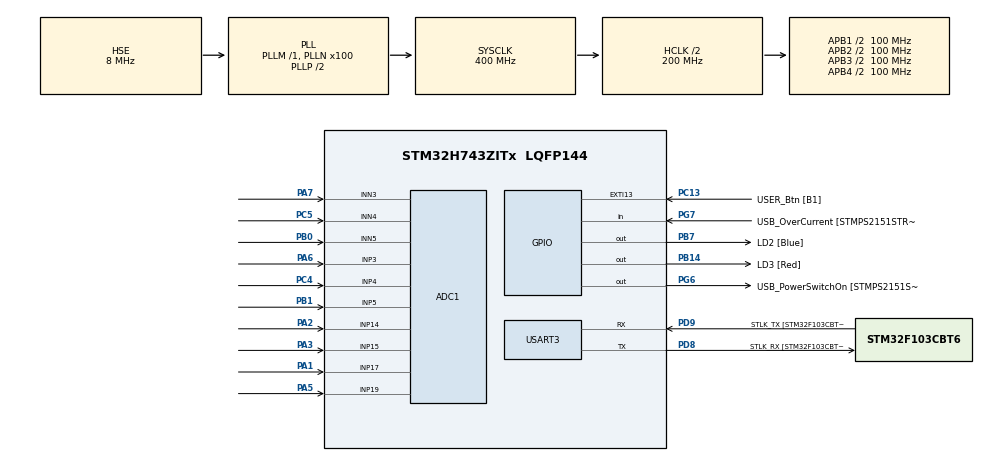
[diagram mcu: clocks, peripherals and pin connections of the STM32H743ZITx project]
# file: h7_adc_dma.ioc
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ADC1.Channel-0\#ChannelRegularConversion=ADC_CHANNEL_17
ADC1.Channel-1\#ChannelRegularConversion=ADC_CHANNEL_14
ADC1.Channel-2\#ChannelRegularConversion=ADC_CHANNEL_15
ADC1.Channel-3\#ChannelRegularConversion=ADC_CHANNEL_3
ADC1.Channel-4\#ChannelRegularConversion=ADC_CHANNEL_4
ADC1.Channel-5\#ChannelRegularConversion=ADC_CHANNEL_5
ADC1.ClockPrescaler=ADC_CLOCK_ASYNC_DIV256
ADC1.ContinuousConvMode=ENABLE
ADC1.ConversionDataManagement=ADC_CONVERSIONDATA_DMA_ONESHOT
ADC1.EOCSelection=ADC_EOC_SEQ_CONV
ADC1.Mode=ADC_MODE_INDEPENDENT
ADC1.NbrOfConversion=6
ADC1.NbrOfConversionFlag=1
ADC1.OffsetNumber-0\#ChannelRegularConversion=ADC_OFFSET_NONE
ADC1.OffsetNumber-1\#ChannelRegularConversion=ADC_OFFSET_NONE
ADC1.OffsetNumber-2\#ChannelRegularConversion=ADC_OFFSET_NONE
ADC1.OffsetNumber-3\#ChannelRegularConversion=ADC_OFFSET_NONE
ADC1.OffsetNumber-4\#ChannelRegularConversion=ADC_OFFSET_NONE
ADC1.OffsetNumber-5\#ChannelRegularConversion=ADC_OFFSET_NONE
ADC1.Overrun=ADC_OVR_DATA_OVERWRITTEN
ADC1.Rank-0\#ChannelRegularConversion=1
ADC1.Rank-1\#ChannelRegularConversion=2
ADC1.Rank-2\#ChannelRegularConversion=3
ADC1.Rank-3\#ChannelRegularConversion=4
ADC1.Rank-4\#ChannelRegularConversion=5
ADC1.Rank-5\#ChannelRegularConversion=6
ADC1.SamplingTime-0\#ChannelRegularConversion=ADC_SAMPLETIME_8CYCLES_5
ADC1.SamplingTime-1\#ChannelRegularConversion=ADC_SAMPLETIME_8CYCLES_5
ADC1.SamplingTime-2\#ChannelRegularConversion=ADC_SAMPLETIME_8CYCLES_5
ADC1.SamplingTime-3\#ChannelRegularConversion=ADC_SAMPLETIME_8CYCLES_5
ADC1.SamplingTime-4\#ChannelRegularConversion=ADC_SAMPLETIME_8CYCLES_5
ADC1.SamplingTime-5\#ChannelRegularConversion=ADC_SAMPLETIME_8CYCLES_5
ADC1.SingleDiff-3\#ChannelRegularConversion=ADC_DIFFERENTIAL_ENDED
ADC1.SingleDiff-4\#ChannelRegularConversion=ADC_DIFFERENTIAL_ENDED
ADC1.SingleDiff-5\#ChannelRegularConversion=ADC_DIFFERENTIAL_ENDED
ADC1.master=1
ADC3.Channel-0\#ChannelRegularConversion=ADC_CHANNEL_TEMPSENSOR
ADC3.ClockPrescaler=ADC_CLOCK_ASYNC_DIV256
ADC3.ContinuousConvMode=DISABLE
ADC3.DMAAccessModeView=ENABLE
ADC3.EnableInjectedConversion=ENABLE
ADC3.EnableRegularConversion=ENABLE
ADC3.ExternalTrigConv=ADC_SOFTWARE_START
ADC3.InjNumberOfConversion=0
ADC3.NbrOfConversion=1
ADC3.NbrOfConversionFlag=1
ADC3.OffsetNumber-0\#ChannelRegularConversion=ADC_OFFSET_NONE
ADC3.Rank-0\#ChannelRegularConversion=1
ADC3.Resolution=ADC_RESOLUTION_16B
ADC3.SamplingTime-0\#ChannelRegularConversion=ADC_SAMPLETIME_387CYCLES_5
CORTEX_M7.CPU_DCache=Enabled
CORTEX_M7.CPU_ICache=Enabled
Dma.ADC1.0.Direction=DMA_PERIPH_TO_MEMORY
Dma.ADC1.0.EventEnable=DISABLE
Dma.ADC1.0.FIFOMode=DMA_FIFOMODE_DISABLE
Dma.ADC1.0.Instance=DMA1_Stream0
Dma.ADC1.0.MemDataAlignment=DMA_MDATAALIGN_HALFWORD
Dma.ADC1.0.MemInc=DMA_MINC_ENABLE
Dma.ADC1.0.Mode=DMA_CIRCULAR
Dma.ADC1.0.PeriphDataAlignment=DMA_PDATAALIGN_HALFWORD
Dma.ADC1.0.PeriphInc=DMA_PINC_DISABLE
Dma.ADC1.0.Polarity=HAL_DMAMUX_REQ_GEN_RISING
Dma.ADC1.0.Priority=DMA_PRIORITY_HIGH
Dma.ADC1.0.RequestNumber=1
Dma.ADC1.0.SignalID=NONE
Dma.ADC1.0.SyncEnable=DISABLE
Dma.ADC1.0.SyncPolarity=HAL_DMAMUX_SYNC_NO_EVENT
Dma.ADC1.0.SyncRequestNumber=1
Dma.ADC1.0.SyncSignalID=NONE
Dma.Request0=ADC1
Mcu.Family=STM32H7
Mcu.Name=STM32H743ZITx
Mcu.Package=LQFP144
NVIC.ADC3_IRQn=true\:0\:0\:false\:false\:true\:true\:true
NVIC.ADC_IRQn=true\:5\:0\:true\:false\:true\:true\:true
NVIC.DMA1_Stream0_IRQn=true\:5\:0\:true\:false\:true\:false\:true
NVIC.PriorityGroup=NVIC_PRIORITYGROUP_4
NVIC.TIM2_IRQn=true\:3\:0\:true\:false\:true\:true\:true
PA1.Mode=IN17-Single-Ended
PA1.Signal=ADC1_INP17
PA10.GPIO_Label=USB_ID
PA10.Signal=USB_OTG_FS_ID
PA11.GPIO_Label=USB_DM
PA11.Signal=USB_OTG_FS_DM
PA12.GPIO_Label=USB_DP
PA12.Signal=USB_OTG_FS_DP
PA2.Signal=ADCx_INP14
PA3.Signal=ADCx_INP15
PA5.Signal=SharedAnalog_PA5
PA6.Signal=ADCx_INP3
PA7.Signal=ADCx_INN3
PA8.GPIO_Label=USB_SOF [TP1]
PA8.Signal=USB_OTG_FS_SOF
PA9.GPIO_Label=USB_VBUS
PA9.Signal=USB_OTG_FS_VBUS
PB0.Signal=ADCx_INN5
PB1.Signal=ADCx_INP5
PB14.GPIO_Label=LD3 [Red]
PB14.Signal=GPIO_Output
PB7.GPIO_Label=LD2 [Blue]
PB7.Signal=GPIO_Output
PC13.GPIO_Label=USER_Btn [B1]
PC13.Signal=GPXTI13
PC14-OSC32_IN\ (OSC32_IN).Mode=LSE-External-Oscillator
PC14-OSC32_IN\ (OSC32_IN).Signal=RCC_OSC32_IN
PC15-OSC32_OUT\ (OSC32_OUT).Mode=LSE-External-Oscillator
PC15-OSC32_OUT\ (OSC32_OUT).Signal=RCC_OSC32_OUT
PC4.Signal=ADCx_INP4
PC5.Signal=ADCx_INN4
PD8.GPIO_Label=STLK_RX [STM32F103CBT6_PA3]
PD8.Mode=Asynchronous
PD8.Signal=USART3_TX
PD9.GPIO_Label=STLK_TX [STM32F103CBT6_PA2]
PD9.Mode=Asynchronous
PD9.Signal=USART3_RX
PG6.GPIO_Label=USB_PowerSwitchOn [STMPS2151STR_EN]
PG6.Signal=GPIO_Output
PG7.GPIO_Label=USB_OverCurrent [STMPS2151STR_FAULT]
PG7.Signal=GPIO_Input
PH0-OSC_IN\ (PH0).GPIO_Label=MCO
PH0-OSC_IN\ (PH0).Mode=HSE-External-Clock-Source
PH0-OSC_IN\ (PH0).Signal=RCC_OSC_IN
PH1-OSC_OUT\ (PH1).Mode=HSE-External-Clock-Source
PH1-OSC_OUT\ (PH1).Signal=RCC_OSC_OUT
ProjectManager.HeapSize=0x200
ProjectManager.StackSize=0x400
ProjectManager.TargetToolchain=SW4STM32
RCC.48MHZClocksFreq_Value=24000000
RCC.ADCFreq_Value=160000000
RCC.AHBFreq_Value=216000000
RCC.APB1CLKDivider=RCC_HCLK_DIV4
RCC.APB1Freq_Value=100000000
RCC.APB1TimFreq_Value=108000000
RCC.APB2CLKDivider=RCC_HCLK_DIV2
RCC.APB2Freq_Value=100000000
RCC.APB2TimFreq_Value=216000000
RCC.APB3Freq_Value=100000000
RCC.APB4Freq_Value=100000000
RCC.CortexFreq_Value=400000000
RCC.D1PPRE=RCC_APB3_DIV2
RCC.D2PPRE1=RCC_APB1_DIV2
RCC.D2PPRE2=RCC_APB2_DIV2
RCC.D3PPRE=RCC_APB4_DIV2
RCC.DIVM1=1
RCC.DIVM2=1
RCC.DIVN1=100
RCC.DIVN2=20
RCC.DIVP2=1
RCC.DIVQ1=4
RCC.HCLKFreq_Value=200000000
RCC.HPRE=RCC_HCLK_DIV2
RCC.HSE_VALUE=8000000
RCC.HSI_VALUE=64000000
RCC.PLL2FRACN=0
RCC.PLLFRACN=0
RCC.PLLM=25
RCC.PLLMUL=RCC_PLL_MUL9
RCC.PLLN=432
RCC.PLLQ=9
RCC.PLLSourceVirtual=RCC_PLLSOURCE_HSE
RCC.PRESCALERUSB=RCC_USBCLKSOURCE_PLL_DIV1_5
RCC.PWR_Regulator_Voltage_Scale=PWR_REGULATOR_VOLTAGE_SCALE1
RCC.SYSCLKFreq_VALUE=400000000
RCC.SYSCLKSource=RCC_SYSCLKSOURCE_PLLCLK
RCC.SYSCLKSourceVirtual=RCC_SYSCLKSOURCE_PLLCLK
RCC.USBFreq_Value=200000000
RCC.VCOOutputFreq_Value=432000000
RTC.Year=19
SH.ADCx_INN3.0=ADC1_INN3,IN3-Differential
SH.ADCx_INN4.0=ADC1_INN4,IN4-Differential
SH.ADCx_INN5.0=ADC1_INN5,IN5-Differential
SH.ADCx_INP14.0=ADC1_INP14,IN14-Single-Ended
SH.ADCx_INP15.0=ADC1_INP15,IN15-Single-Ended
SH.ADCx_INP3.0=ADC1_INP3,IN3-Differential
SH.ADCx_INP4.0=ADC1_INP4,IN4-Differential
SH.ADCx_INP5.0=ADC1_INP5,IN5-Differential
SH.SharedAnalog_PA5.0=ADC1_INN18
SH.SharedAnalog_PA5.1=ADC1_INP19,IN19-Single-Ended
TIM2.Period=100
TIM2.Prescaler=1
USART3.VirtualMode-Asynchronous=VM_ASYNC
VP_ADC3_TempSens_Input.Mode=IN-TempSens
VP_ADC3_Vref_Input.Mode=IN-Vrefint
VP_RTC_VS_RTC_Activate.Mode=RTC_Enabled
VP_RTC_VS_RTC_Calendar.Mode=RTC_Calendar
VP_TIM2_VS_ClockSourceINT.Mode=Internal
board=NUCLEO-H743ZI

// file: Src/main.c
/* USER CODE BEGIN Header */
/**
  ******************************************************************************
  * @file           : main.c
  * @brief          : Main program body
  ******************************************************************************
  * @attention
  *
  * <h2><center>&copy; Copyright (c) 2019 STMicroelectronics.
  * All rights reserved.</center></h2>
  *
  * This software component is licensed by ST under BSD 3-Clause license,
  * the "License"; You may not use this file except in compliance with the
  * License. You may obtain a copy of the License at:
  *                        opensource.org/licenses/BSD-3-Clause
  *
  ******************************************************************************
  */
/* USER CODE END Header */

#include "main.h"

/* USER CODE BEGIN Includes */
#include <stdbool.h>
/* USER CODE END Includes */

ADC_HandleTypeDef hadc1;
ADC_HandleTypeDef hadc3;
DMA_HandleTypeDef hdma_adc1;

RTC_HandleTypeDef hrtc;

TIM_HandleTypeDef htim2;

UART_HandleTypeDef huart3;

void SystemClock_Config(void);
static void MX_GPIO_Init(void);
static void MX_DMA_Init(void);
static void MX_USART3_UART_Init(void);
static void MX_TIM2_Init(void);
static void MX_RTC_Init(void);
static void MX_ADC3_Init(void);
static void MX_ADC1_Init(void);

/* USER CODE BEGIN 0 */
volatile uint32_t dbg_res = 0;
volatile bool isAdcWork = false;
volatile uint32_t adcCounter = 0;
static __attribute__((section(".adc_dma_buf"))) __attribute__((aligned(0x20)))  int16_t s_pAlignedAdcBuffer[(1024 + 0x1f) & ~0x1f];
void HAL_ADC_ConvCpltCallback(ADC_HandleTypeDef* hadc)
{
  if (hadc->Instance == ADC1)
  {
    //HAL_ADCEx_MultiModeStop_DMA(&hadc1);
    dbg_res = HAL_ADC_Stop_DMA(hadc);
    isAdcWork = false;
    adcCounter++;
  }
}
void HAL_ADC_ErrorCallback(ADC_HandleTypeDef *hadc){
  dbg_res = 1;
}
void test_adc(){
  uint8_t buf[64];
  int len = 1;
  volatile float adcf;
  memset(&s_pAlignedAdcBuffer[0], 0xff, sizeof(s_pAlignedAdcBuffer));
  SCB_CleanDCache_by_Addr((uint32_t*)&s_pAlignedAdcBuffer[0], sizeof(s_pAlignedAdcBuffer));
  while(1){
    if (!isAdcWork){
      isAdcWork = true;
      SCB_InvalidateDCache_by_Addr((uint32_t*)&s_pAlignedAdcBuffer[0], sizeof(s_pAlignedAdcBuffer)); // адрес и размер д.б. выровнены до линии кеша 32хбайт
      //HAL_ADCEx_MultiModeStart_DMA(&hadc1, (uint32_t*)&s_pAlignedAdcBuffer[0], 6);
      dbg_res = HAL_ADC_Start_DMA(&hadc1,(uint32_t*)&s_pAlignedAdcBuffer[0], 6);
    }
    len = snprintf(buf, sizeof(buf), "%u %d\r\n", adcCounter, s_pAlignedAdcBuffer[0]);
    HAL_UART_Transmit(&huart3, buf, len, HAL_MAX_DELAY);
    HAL_Delay(1000);
  }
}
/* USER CODE END 0 */

int main(void)
{

  /* Enable I-Cache---------------------------------------------------------*/
  SCB_EnableICache();

  /* Enable D-Cache---------------------------------------------------------*/
  SCB_EnableDCache();

  /* MCU Configuration--------------------------------------------------------*/

  /* Reset of all peripherals, Initializes the Flash interface and the Systick. */
  HAL_Init();

  /* Configure the system clock */
  SystemClock_Config();

  /* Initialize all configured peripherals */
  MX_GPIO_Init();
  MX_DMA_Init();
  MX_USART3_UART_Init();
  MX_TIM2_Init();
  MX_RTC_Init();
  MX_ADC3_Init();
  MX_ADC1_Init();
  /* USER CODE BEGIN 2 */
  HAL_UART_Transmit(&huart3, (uint8_t *)"Start\r\n", 7, HAL_MAX_DELAY);

  test_adc();

  /* USER CODE END 2 */

  /* Infinite loop */
  while (1)
  {

  }
}

void SystemClock_Config(void)
{
  RCC_OscInitTypeDef RCC_OscInitStruct = {0};
  RCC_ClkInitTypeDef RCC_ClkInitStruct = {0};
  RCC_PeriphCLKInitTypeDef PeriphClkInitStruct = {0};

  /** Supply configuration update enable
  */
  HAL_PWREx_ConfigSupply(PWR_LDO_SUPPLY);
  /** Configure the main internal regulator output voltage
  */
  __HAL_PWR_VOLTAGESCALING_CONFIG(PWR_REGULATOR_VOLTAGE_SCALE1);

  while(!__HAL_PWR_GET_FLAG(PWR_FLAG_VOSRDY)) {}
  /** Macro to configure the PLL clock source
  */
  __HAL_RCC_PLL_PLLSOURCE_CONFIG(RCC_PLLSOURCE_HSE);
  /** Initializes the CPU, AHB and APB busses clocks
  */
  RCC_OscInitStruct.OscillatorType = RCC_OSCILLATORTYPE_LSI|RCC_OSCILLATORTYPE_HSE;
  RCC_OscInitStruct.HSEState = RCC_HSE_BYPASS;
  RCC_OscInitStruct.LSIState = RCC_LSI_ON;
  RCC_OscInitStruct.PLL.PLLState = RCC_PLL_ON;
  RCC_OscInitStruct.PLL.PLLSource = RCC_PLLSOURCE_HSE;
  RCC_OscInitStruct.PLL.PLLM = 1;
  RCC_OscInitStruct.PLL.PLLN = 100;
  RCC_OscInitStruct.PLL.PLLP = 2;
  RCC_OscInitStruct.PLL.PLLQ = 4;
  RCC_OscInitStruct.PLL.PLLR = 2;
  RCC_OscInitStruct.PLL.PLLRGE = RCC_PLL1VCIRANGE_3;
  RCC_OscInitStruct.PLL.PLLVCOSEL = RCC_PLL1VCOWIDE;
  RCC_OscInitStruct.PLL.PLLFRACN = 0;
  if (HAL_RCC_OscConfig(&RCC_OscInitStruct) != HAL_OK)
  {
    Error_Handler();
  }
  /** Initializes the CPU, AHB and APB busses clocks
  */
  RCC_ClkInitStruct.ClockType = RCC_CLOCKTYPE_HCLK|RCC_CLOCKTYPE_SYSCLK
                              |RCC_CLOCKTYPE_PCLK1|RCC_CLOCKTYPE_PCLK2
                              |RCC_CLOCKTYPE_D3PCLK1|RCC_CLOCKTYPE_D1PCLK1;
  RCC_ClkInitStruct.SYSCLKSource = RCC_SYSCLKSOURCE_PLLCLK;
  RCC_ClkInitStruct.SYSCLKDivider = RCC_SYSCLK_DIV1;
  RCC_ClkInitStruct.AHBCLKDivider = RCC_HCLK_DIV2;
  RCC_ClkInitStruct.APB3CLKDivider = RCC_APB3_DIV2;
  RCC_ClkInitStruct.APB1CLKDivider = RCC_APB1_DIV2;
  RCC_ClkInitStruct.APB2CLKDivider = RCC_APB2_DIV2;
  RCC_ClkInitStruct.APB4CLKDivider = RCC_APB4_DIV2;

  if (HAL_RCC_ClockConfig(&RCC_ClkInitStruct, FLASH_LATENCY_2) != HAL_OK)
  {
    Error_Handler();
  }
  PeriphClkInitStruct.PeriphClockSelection = RCC_PERIPHCLK_RTC|RCC_PERIPHCLK_USART3
                              |RCC_PERIPHCLK_ADC;
  PeriphClkInitStruct.PLL2.PLL2M = 1;
  PeriphClkInitStruct.PLL2.PLL2N = 20;
  PeriphClkInitStruct.PLL2.PLL2P = 1;
  PeriphClkInitStruct.PLL2.PLL2Q = 2;
  PeriphClkInitStruct.PLL2.PLL2R = 2;
  PeriphClkInitStruct.PLL2.PLL2RGE = RCC_PLL2VCIRANGE_3;
  PeriphClkInitStruct.PLL2.PLL2VCOSEL = RCC_PLL2VCOMEDIUM;
  PeriphClkInitStruct.PLL2.PLL2FRACN = 0;
  PeriphClkInitStruct.Usart234578ClockSelection = RCC_USART234578CLKSOURCE_D2PCLK1;
  PeriphClkInitStruct.AdcClockSelection = RCC_ADCCLKSOURCE_PLL2;
  PeriphClkInitStruct.RTCClockSelection = RCC_RTCCLKSOURCE_LSI;
  if (HAL_RCCEx_PeriphCLKConfig(&PeriphClkInitStruct) != HAL_OK)
  {
    Error_Handler();
  }
}

static void MX_ADC1_Init(void)
{

  ADC_MultiModeTypeDef multimode = {0};
  ADC_ChannelConfTypeDef sConfig = {0};

  /** Common config
  */
  hadc1.Instance = ADC1;
  hadc1.Init.ClockPrescaler = ADC_CLOCK_ASYNC_DIV256;
  hadc1.Init.Resolution = ADC_RESOLUTION_16B;
  hadc1.Init.ScanConvMode = ADC_SCAN_ENABLE;
  hadc1.Init.EOCSelection = ADC_EOC_SEQ_CONV;
  hadc1.Init.LowPowerAutoWait = DISABLE;
  hadc1.Init.ContinuousConvMode = ENABLE;
  hadc1.Init.NbrOfConversion = 6;
  hadc1.Init.DiscontinuousConvMode = DISABLE;
  hadc1.Init.ExternalTrigConv = ADC_SOFTWARE_START;
  hadc1.Init.ExternalTrigConvEdge = ADC_EXTERNALTRIGCONVEDGE_NONE;
  hadc1.Init.ConversionDataManagement = ADC_CONVERSIONDATA_DMA_ONESHOT;
  hadc1.Init.Overrun = ADC_OVR_DATA_OVERWRITTEN;
  hadc1.Init.LeftBitShift = ADC_LEFTBITSHIFT_NONE;
  hadc1.Init.OversamplingMode = DISABLE;
  if (HAL_ADC_Init(&hadc1) != HAL_OK)
  {
    Error_Handler();
  }
  /** Configure the ADC multi-mode
  */
  multimode.Mode = ADC_MODE_INDEPENDENT;
  if (HAL_ADCEx_MultiModeConfigChannel(&hadc1, &multimode) != HAL_OK)
  {
    Error_Handler();
  }
  /** Configure Regular Channel
  */
  sConfig.Channel = ADC_CHANNEL_17;
  sConfig.Rank = ADC_REGULAR_RANK_1;
  sConfig.SamplingTime = ADC_SAMPLETIME_8CYCLES_5;
  sConfig.SingleDiff = ADC_SINGLE_ENDED;
  sConfig.OffsetNumber = ADC_OFFSET_NONE;
  sConfig.Offset = 0;
  if (HAL_ADC_ConfigChannel(&hadc1, &sConfig) != HAL_OK)
  {
    Error_Handler();
  }
  /** Configure Regular Channel
  */
  sConfig.Channel = ADC_CHANNEL_14;
  sConfig.Rank = ADC_REGULAR_RANK_2;
  if (HAL_ADC_ConfigChannel(&hadc1, &sConfig) != HAL_OK)
  {
    Error_Handler();
  }
  /** Configure Regular Channel
  */
  sConfig.Channel = ADC_CHANNEL_15;
  sConfig.Rank = ADC_REGULAR_RANK_3;
  if (HAL_ADC_ConfigChannel(&hadc1, &sConfig) != HAL_OK)
  {
    Error_Handler();
  }
  /** Configure Regular Channel
  */
  sConfig.Channel = ADC_CHANNEL_3;
  sConfig.Rank = ADC_REGULAR_RANK_4;
  sConfig.SingleDiff = ADC_DIFFERENTIAL_ENDED;
  if (HAL_ADC_ConfigChannel(&hadc1, &sConfig) != HAL_OK)
  {
    Error_Handler();
  }
  /** Configure Regular Channel
  */
  sConfig.Channel = ADC_CHANNEL_4;
  sConfig.Rank = ADC_REGULAR_RANK_5;
  if (HAL_ADC_ConfigChannel(&hadc1, &sConfig) != HAL_OK)
  {
    Error_Handler();
  }
  /** Configure Regular Channel
  */
  sConfig.Channel = ADC_CHANNEL_5;
  sConfig.Rank = ADC_REGULAR_RANK_6;
  if (HAL_ADC_ConfigChannel(&hadc1, &sConfig) != HAL_OK)
  {
    Error_Handler();
  }

}

static void MX_ADC3_Init(void)
{

  ADC_ChannelConfTypeDef sConfig = {0};

  /** Common config
  */
  hadc3.Instance = ADC3;
  hadc3.Init.ClockPrescaler = ADC_CLOCK_ASYNC_DIV256;
  hadc3.Init.Resolution = ADC_RESOLUTION_16B;
  hadc3.Init.ScanConvMode = ADC_SCAN_DISABLE;
  hadc3.Init.EOCSelection = ADC_EOC_SINGLE_CONV;
  hadc3.Init.LowPowerAutoWait = DISABLE;
  hadc3.Init.ContinuousConvMode = DISABLE;
  hadc3.Init.NbrOfConversion = 1;
  hadc3.Init.DiscontinuousConvMode = DISABLE;
  hadc3.Init.ExternalTrigConv = ADC_SOFTWARE_START;
  hadc3.Init.ExternalTrigConvEdge = ADC_EXTERNALTRIGCONVEDGE_NONE;
  hadc3.Init.ConversionDataManagement = ADC_CONVERSIONDATA_DR;
  hadc3.Init.Overrun = ADC_OVR_DATA_PRESERVED;
  hadc3.Init.LeftBitShift = ADC_LEFTBITSHIFT_NONE;
  hadc3.Init.OversamplingMode = DISABLE;
  if (HAL_ADC_Init(&hadc3) != HAL_OK)
  {
    Error_Handler();
  }
  /** Configure Regular Channel
  */
  sConfig.Channel = ADC_CHANNEL_TEMPSENSOR;
  sConfig.Rank = ADC_REGULAR_RANK_1;
  sConfig.SamplingTime = ADC_SAMPLETIME_387CYCLES_5;
  sConfig.SingleDiff = ADC_SINGLE_ENDED;
  sConfig.OffsetNumber = ADC_OFFSET_NONE;
  sConfig.Offset = 0;
  if (HAL_ADC_ConfigChannel(&hadc3, &sConfig) != HAL_OK)
  {
    Error_Handler();
  }

}

static void MX_RTC_Init(void)
{

  RTC_TimeTypeDef sTime = {0};
  RTC_DateTypeDef sDate = {0};

  /** Initialize RTC Only
  */
  hrtc.Instance = RTC;
  hrtc.Init.HourFormat = RTC_HOURFORMAT_24;
  hrtc.Init.AsynchPrediv = 127;
  hrtc.Init.SynchPrediv = 255;
  hrtc.Init.OutPut = RTC_OUTPUT_DISABLE;
  hrtc.Init.OutPutPolarity = RTC_OUTPUT_POLARITY_HIGH;
  hrtc.Init.OutPutType = RTC_OUTPUT_TYPE_OPENDRAIN;
  hrtc.Init.OutPutRemap = RTC_OUTPUT_REMAP_NONE;
  if (HAL_RTC_Init(&hrtc) != HAL_OK)
  {
    Error_Handler();
  }

  /** Initialize RTC and set the Time and Date
  */
  sTime.Hours = 0x0;
  sTime.Minutes = 0x0;
  sTime.Seconds = 0x0;
  sTime.DayLightSaving = RTC_DAYLIGHTSAVING_NONE;
  sTime.StoreOperation = RTC_STOREOPERATION_RESET;
  if (HAL_RTC_SetTime(&hrtc, &sTime, RTC_FORMAT_BCD) != HAL_OK)
  {
    Error_Handler();
  }
  sDate.WeekDay = RTC_WEEKDAY_MONDAY;
  sDate.Month = RTC_MONTH_JANUARY;
  sDate.Date = 0x1;
  sDate.Year = 0x19;

  if (HAL_RTC_SetDate(&hrtc, &sDate, RTC_FORMAT_BCD) != HAL_OK)
  {
    Error_Handler();
  }

}

static void MX_TIM2_Init(void)
{

  TIM_ClockConfigTypeDef sClockSourceConfig = {0};
  TIM_MasterConfigTypeDef sMasterConfig = {0};

  htim2.Instance = TIM2;
  htim2.Init.Prescaler = 1;
  htim2.Init.CounterMode = TIM_COUNTERMODE_UP;
  htim2.Init.Period = 100;
  htim2.Init.ClockDivision = TIM_CLOCKDIVISION_DIV1;
  htim2.Init.AutoReloadPreload = TIM_AUTORELOAD_PRELOAD_DISABLE;
  if (HAL_TIM_Base_Init(&htim2) != HAL_OK)
  {
    Error_Handler();
  }
  sClockSourceConfig.ClockSource = TIM_CLOCKSOURCE_INTERNAL;
  if (HAL_TIM_ConfigClockSource(&htim2, &sClockSourceConfig) != HAL_OK)
  {
    Error_Handler();
  }
  sMasterConfig.MasterOutputTrigger = TIM_TRGO_RESET;
  sMasterConfig.MasterSlaveMode = TIM_MASTERSLAVEMODE_DISABLE;
  if (HAL_TIMEx_MasterConfigSynchronization(&htim2, &sMasterConfig) != HAL_OK)
  {
    Error_Handler();
  }

}

static void MX_USART3_UART_Init(void)
{

  huart3.Instance = USART3;
  huart3.Init.BaudRate = 115200;
  huart3.Init.WordLength = UART_WORDLENGTH_8B;
  huart3.Init.StopBits = UART_STOPBITS_1;
  huart3.Init.Parity = UART_PARITY_NONE;
  huart3.Init.Mode = UART_MODE_TX_RX;
  huart3.Init.HwFlowCtl = UART_HWCONTROL_NONE;
  huart3.Init.OverSampling = UART_OVERSAMPLING_16;
  huart3.Init.OneBitSampling = UART_ONE_BIT_SAMPLE_DISABLE;
  huart3.Init.ClockPrescaler = UART_PRESCALER_DIV1;
  huart3.AdvancedInit.AdvFeatureInit = UART_ADVFEATURE_NO_INIT;
  if (HAL_UART_Init(&huart3) != HAL_OK)
  {
    Error_Handler();
  }
  if (HAL_UARTEx_SetTxFifoThreshold(&huart3, UART_TXFIFO_THRESHOLD_1_8) != HAL_OK)
  {
    Error_Handler();
  }
  if (HAL_UARTEx_SetRxFifoThreshold(&huart3, UART_RXFIFO_THRESHOLD_1_8) != HAL_OK)
  {
    Error_Handler();
  }
  if (HAL_UARTEx_DisableFifoMode(&huart3) != HAL_OK)
  {
    Error_Handler();
  }

}

static void MX_DMA_Init(void)
{

  /* DMA controller clock enable */
  __HAL_RCC_DMA1_CLK_ENABLE();

  /* DMA interrupt init */
  /* DMA1_Stream0_IRQn interrupt configuration */
  HAL_NVIC_SetPriority(DMA1_Stream0_IRQn, 5, 0);
  HAL_NVIC_EnableIRQ(DMA1_Stream0_IRQn);

}

static void MX_GPIO_Init(void)
{
  GPIO_InitTypeDef GPIO_InitStruct = {0};

  /* GPIO Ports Clock Enable */
  __HAL_RCC_GPIOC_CLK_ENABLE();
  __HAL_RCC_GPIOH_CLK_ENABLE();
  __HAL_RCC_GPIOA_CLK_ENABLE();
  __HAL_RCC_GPIOB_CLK_ENABLE();
  __HAL_RCC_GPIOD_CLK_ENABLE();
  __HAL_RCC_GPIOG_CLK_ENABLE();

  /*Configure GPIO pin Output Level */
  HAL_GPIO_WritePin(GPIOB, LD3_Pin|LD2_Pin, GPIO_PIN_RESET);

  /*Configure GPIO pin Output Level */
  HAL_GPIO_WritePin(USB_PowerSwitchOn_GPIO_Port, USB_PowerSwitchOn_Pin, GPIO_PIN_RESET);

  /*Configure GPIO pin : USER_Btn_Pin */
  GPIO_InitStruct.Pin = USER_Btn_Pin;
  GPIO_InitStruct.Mode = GPIO_MODE_IT_RISING;
  GPIO_InitStruct.Pull = GPIO_NOPULL;
  HAL_GPIO_Init(USER_Btn_GPIO_Port, &GPIO_InitStruct);

  /*Configure GPIO pins : LD3_Pin LD2_Pin */
  GPIO_InitStruct.Pin = LD3_Pin|LD2_Pin;
  GPIO_InitStruct.Mode = GPIO_MODE_OUTPUT_PP;
  GPIO_InitStruct.Pull = GPIO_NOPULL;
  GPIO_InitStruct.Speed = GPIO_SPEED_FREQ_LOW;
  HAL_GPIO_Init(GPIOB, &GPIO_InitStruct);

  /*Configure GPIO pin : USB_PowerSwitchOn_Pin */
  GPIO_InitStruct.Pin = USB_PowerSwitchOn_Pin;
  GPIO_InitStruct.Mode = GPIO_MODE_OUTPUT_PP;
  GPIO_InitStruct.Pull = GPIO_NOPULL;
  GPIO_InitStruct.Speed = GPIO_SPEED_FREQ_LOW;
  HAL_GPIO_Init(USB_PowerSwitchOn_GPIO_Port, &GPIO_InitStruct);

  /*Configure GPIO pin : USB_OverCurrent_Pin */
  GPIO_InitStruct.Pin = USB_OverCurrent_Pin;
  GPIO_InitStruct.Mode = GPIO_MODE_INPUT;
  GPIO_InitStruct.Pull = GPIO_NOPULL;
  HAL_GPIO_Init(USB_OverCurrent_GPIO_Port, &GPIO_InitStruct);

  /*Configure GPIO pins : USB_SOF_Pin USB_ID_Pin USB_DM_Pin USB_DP_Pin */
  GPIO_InitStruct.Pin = USB_SOF_Pin|USB_ID_Pin|USB_DM_Pin|USB_DP_Pin;
  GPIO_InitStruct.Mode = GPIO_MODE_AF_PP;
  GPIO_InitStruct.Pull = GPIO_NOPULL;
  GPIO_InitStruct.Speed = GPIO_SPEED_FREQ_LOW;
  GPIO_InitStruct.Alternate = GPIO_AF10_OTG1_FS;
  HAL_GPIO_Init(GPIOA, &GPIO_InitStruct);

}

void Error_Handler(void)
{
}

/************************ (C) COPYRIGHT STMicroelectronics *****END OF FILE****/
